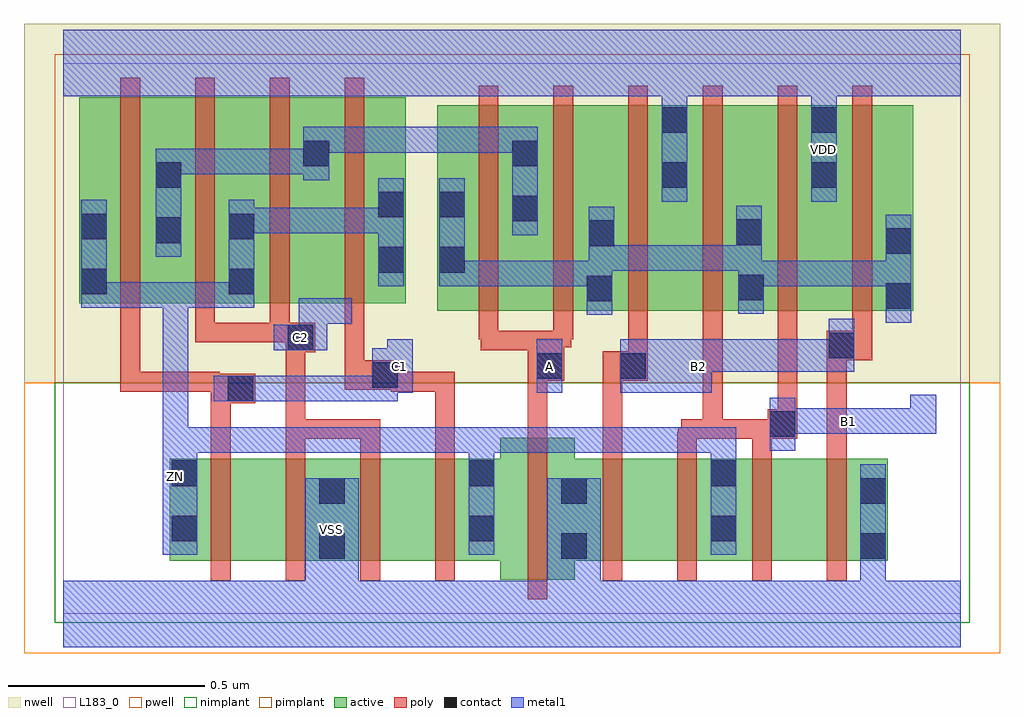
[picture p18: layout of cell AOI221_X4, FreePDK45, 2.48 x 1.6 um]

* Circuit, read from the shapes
.subckt AOI221_X4 A B1 B2 C1 C2 VDD VSS ZN
M1 n1 C1 ZN VSUBS nfet w=0.26u l=0.05u
M2 VSS C2 n1 VSUBS nfet w=0.26u l=0.05u
M3 n2 C2 VSS VSUBS nfet w=0.26u l=0.05u
M4 ZN C1 n2 VSUBS nfet w=0.26u l=0.05u
M5 VSS A ZN VSUBS nfet w=0.36u l=0.05u
M6 n3 B2 VSS VSUBS nfet w=0.26u l=0.05u
M7 ZN B1 n3 VSUBS nfet w=0.26u l=0.05u
M8 n4 B1 ZN VSUBS nfet w=0.26u l=0.05u
M9 VSS B2 n4 VSUBS nfet w=0.26u l=0.05u
M10 n5 C1 ZN n6 pfet w=0.5225u l=0.05u m=2
M11 ZN C2 n5 n6 pfet w=0.5225u l=0.05u m=2
M12 n5 A n7 n6 pfet w=0.5225u l=0.05u m=2
M13 VDD B2 n7 n6 pfet w=0.5225u l=0.05u m=2
M14 n7 B1 VDD n6 pfet w=0.5225u l=0.05u m=2
.ends

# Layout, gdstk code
import gdstk
lib = gdstk.Library(unit=1e-6, precision=1e-10)
def R(c, l, rs):  # rectangles x0, y0, x1, y1
    for r in rs: c.add(gdstk.rectangle(r[:2], r[2:], *l))
def P(c, l, *ps):  # polygons
    for p in ps: c.add(gdstk.Polygon(p, *l))
active = (1, 0)
pwell = (2, 0)
nwell = (3, 0)
nimplant = (4, 0)
pimplant = (5, 0)
poly = (9, 0)
contact = (10, 0)
metal1 = (11, 0)
L183_0 = (183, 0)

aoi221_x4 = lib.new_cell('AOI221_X4')
R(aoi221_x4, active, [(0.95,0.77,2.16,1.2925), (0.04,0.79,0.87,1.3125)])
P(aoi221_x4, active, [(0.27,0.135),(1.11,0.135),(1.11,0.0875),(1.3,0.0875),(1.3,0.135),(2.095,0.135),(2.095,0.395),(1.3,0.395),(1.3,0.4475),(1.11,0.4475),(1.11,0.395),(0.27,0.395)])
R(aoi221_x4, pwell, [(-0.1,-0.1,2.38,0.5875)])
R(aoi221_x4, nwell, [(-0.1,0.5875,2.38,1.5)])
R(aoi221_x4, nimplant, [(-0.0225,-0.0225,2.3025,0.5875)])
R(aoi221_x4, pimplant, [(-0.0225,0.5875,2.3025,1.4225)])
P(aoi221_x4, poly, [(1.055,0.6975),(1.06,0.6975),(1.06,0.67),(1.18,0.67),(1.18,0.0375),(1.23,0.0375),(1.23,0.5925),(1.2725,0.5925),(1.2725,0.6775),(1.29,0.6775),(1.29,0.6975),(1.295,0.6975),(1.295,1.3425),(1.245,1.3425),(1.245,0.72),(1.105,0.72),(1.105,1.3425),(1.055,1.3425)],
  [(1.37,0.085),(1.42,0.085),(1.42,0.5925),(1.485,0.5925),(1.485,1.3425),(1.435,1.3425),(1.435,0.6675),(1.37,0.6675)],
  [(1.56,0.085),(1.61,0.085),(1.61,0.445),(1.75,0.445),(1.75,0.085),(1.8,0.085),(1.8,0.445),(1.865,0.445),(1.865,1.3425),(1.815,1.3425),(1.815,0.52),(1.79,0.52),(1.79,0.495),(1.675,0.495),(1.675,1.3425),(1.625,1.3425),(1.625,0.495),(1.57,0.495),(1.57,0.475),(1.5625,0.475),(1.5625,0.4625),(1.56,0.4625)],
  [(1.94,0.085),(1.99,0.085),(1.99,0.645),(2.055,0.645),(2.055,1.3425),(2.005,1.3425),(2.005,0.72),(1.94,0.72)],
  [(0.145,0.565),(0.375,0.565),(0.375,0.085),(0.425,0.085),(0.425,0.535),(0.4875,0.535),(0.4875,0.61),(0.3975,0.61),(0.3975,0.615),(0.195,0.615),(0.195,1.3625),(0.145,1.3625)],
  [(0.335,0.69),(0.565,0.69),(0.565,0.085),(0.615,0.085),(0.615,0.445),(0.755,0.445),(0.755,0.085),(0.805,0.085),(0.805,0.495),(0.615,0.495),(0.615,0.665),(0.64,0.665),(0.64,0.74),(0.575,0.74),(0.575,1.3625),(0.525,1.3625),(0.525,0.74),(0.385,0.74),(0.385,1.3625),(0.335,1.3625)],
  [(0.715,0.57),(0.8325,0.57),(0.8325,0.565),(0.945,0.565),(0.945,0.085),(0.995,0.085),(0.995,0.615),(0.855,0.615),(0.855,0.645),(0.765,0.645),(0.765,1.3625),(0.715,1.3625)])
R(aoi221_x4, contact, [(0.65,0.14,0.715,0.205), (1.265,0.14,1.33,0.205), (2.025,0.14,2.09,0.205), (0.275,0.185,0.34,0.25), (1.03,0.185,1.095,0.25), (1.645,0.185,1.71,0.25), (0.65,0.28,0.715,0.345), (1.265,0.28,1.33,0.345), (2.025,0.28,2.09,0.345), (0.275,0.325,0.34,0.39), (1.03,0.325,1.095,0.39), (1.645,0.325,1.71,0.39), (1.795,0.45,1.86,0.515), (0.4175,0.54,0.4825,0.605), (0.785,0.575,0.85,0.64), (1.2025,0.5975,1.2675,0.6625), (1.415,0.5975,1.48,0.6625), (1.945,0.65,2.01,0.715), (0.57,0.67,0.635,0.735), (2.09,0.775,2.155,0.84), (1.33,0.795,1.395,0.86), (1.715,0.7975,1.78,0.8625), (0.045,0.8125,0.11,0.8775), (0.42,0.8125,0.485,0.8775), (0.8,0.8675,0.865,0.9325), (0.955,0.8675,1.02,0.9325), (2.09,0.915,2.155,0.98), (1.335,0.935,1.4,1), (1.71,0.9375,1.775,1.0025), (0.235,0.9425,0.3,1.0075), (0.045,0.9525,0.11,1.0175), (0.42,0.9525,0.485,1.0175), (1.14,0.9975,1.205,1.0625), (0.8,1.0075,0.865,1.0725), (0.955,1.0075,1.02,1.0725), (0.235,1.0825,0.3,1.1475), (1.52,1.0825,1.585,1.1475), (1.9,1.0825,1.965,1.1475), (0.61,1.1375,0.675,1.2025), (1.14,1.1375,1.205,1.2025), (1.52,1.2225,1.585,1.2875), (1.9,1.2225,1.965,1.2875)])
R(aoi221_x4, metal1, [(1.2025,0.5625,1.2675,0.6975)])
P(aoi221_x4, metal1, [(0.535,0.67),(0.5975,0.67),(0.67,0.67),(0.67,0.7375),(0.7325,0.7375),(0.7325,0.8025),(0.5975,0.8025),(0.5975,0.7375),(0.5975,0.735),(0.535,0.735)],
  [(0.3825,0.54),(0.85,0.54),(0.85,0.5625),(0.8875,0.5625),(0.8875,0.6975),(0.8225,0.6975),(0.8225,0.675),(0.785,0.675),(0.785,0.605),(0.3825,0.605)],
  [(0.235,0.9075),(0.3,0.9075),(0.3,1.1175),(0.61,1.1175),(0.61,1.1025),(0.675,1.1025),(0.675,1.1725),(1.14,1.1725),(1.14,0.9625),(1.205,0.9625),(1.205,1.2375),(0.61,1.2375),(0.61,1.1825),(0.235,1.1825)],
  [(0.045,0.7775),(0.2525,0.7775),(0.2525,0.15),(0.34,0.15),(0.34,0.41),(1.03,0.41),(1.03,0.15),(1.095,0.15),(1.095,0.41),(1.645,0.41),(1.645,0.15),(1.71,0.15),(1.71,0.475),(0.3175,0.475),(0.3175,0.7775),(0.485,0.7775),(0.485,0.9675),(0.8,0.9675),(0.8,0.8325),(0.865,0.8325),(0.865,1.1075),(0.8,1.1075),(0.8,1.0325),(0.485,1.0325),(0.485,1.0525),(0.42,1.0525),(0.42,0.8425),(0.11,0.8425),(0.11,1.0525),(0.045,1.0525)],
  [(1.415,0.5625),(1.6475,0.5625),(1.6475,0.615),(2.01,0.615),(2.01,0.75),(1.945,0.75),(1.945,0.6975),(1.415,0.6975)],
  [(0.955,0.8325),(1.33,0.8325),(1.33,0.76),(1.395,0.76),(1.395,0.8725),(1.715,0.8725),(1.715,0.7625),(1.78,0.7625),(1.78,0.8325),(2.09,0.8325),(2.09,0.74),(2.155,0.74),(2.155,1.015),(2.09,1.015),(2.09,0.8975),(1.775,0.8975),(1.775,1.0375),(1.71,1.0375),(1.71,0.9375),(1.4,0.9375),(1.4,1.035),(1.335,1.035),(1.335,0.8975),(1.02,0.8975),(1.02,1.1075),(0.955,1.1075)],
  [(1.795,0.415),(1.86,0.415),(1.86,0.4575),(2.2175,0.4575),(2.2175,0.5575),(2.1525,0.5575),(2.1525,0.5225),(1.86,0.5225),(1.86,0.55),(1.795,0.55)],
  [(0,-0.085),(2.28,-0.085),(2.28,0.085),(2.09,0.085),(2.09,0.38),(2.025,0.38),(2.025,0.085),(1.365,0.085),(1.365,0.345),(1.23,0.345),(1.23,0.085),(0.75,0.085),(0.75,0.345),(0.615,0.345),(0.615,0.085),(0,0.085)],
  [(0,1.315),(1.52,1.315),(1.52,1.0475),(1.585,1.0475),(1.585,1.315),(1.9,1.315),(1.9,1.0475),(1.965,1.0475),(1.965,1.315),(2.28,1.315),(2.28,1.485),(0,1.485)])
R(aoi221_x4, L183_0, [(0,0,2.28,1.4)])
aoi221_x4.add(gdstk.Label('A', (1.235,0.63), layer=11, texttype=0))
aoi221_x4.add(gdstk.Label('B1', (1.995,0.49), layer=11, texttype=0))
aoi221_x4.add(gdstk.Label('B2', (1.615,0.63), layer=11, texttype=0))
aoi221_x4.add(gdstk.Label('C1', (0.855,0.63), layer=11, texttype=0))
aoi221_x4.add(gdstk.Label('C2', (0.6025,0.7025), layer=11, texttype=0))
aoi221_x4.add(gdstk.Label('VDD', (1.9325,1.1812), layer=11, texttype=0))
aoi221_x4.add(gdstk.Label('VSS', (0.6825,0.215), layer=11, texttype=0))
aoi221_x4.add(gdstk.Label('ZN', (0.285,0.35), layer=11, texttype=0))

lib.write_gds('AOI221_X4.gds')
